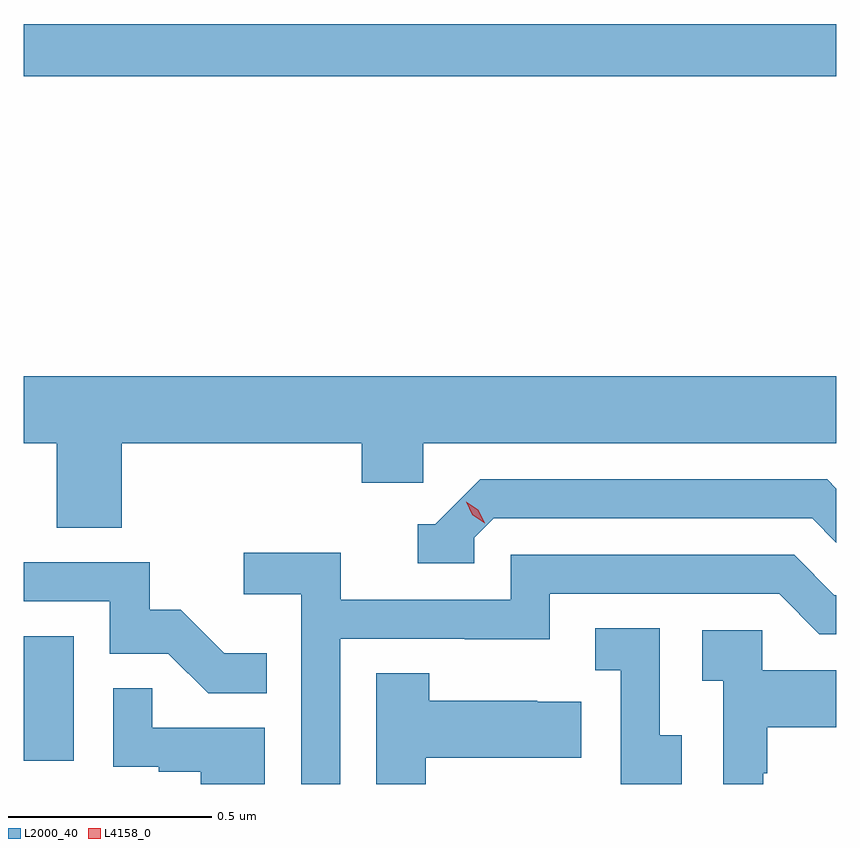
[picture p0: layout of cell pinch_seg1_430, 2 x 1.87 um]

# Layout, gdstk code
import gdstk
lib = gdstk.Library(unit=1e-6, precision=1e-09)
def R(c, l, rs):  # rectangles x0, y0, x1, y1
    for r in rs: c.add(gdstk.rectangle(r[:2], r[2:], *l))
def P(c, l, *ps):  # polygons
    for p in ps: c.add(gdstk.Polygon(p, *l))
L2000_40 = (2000, 40)
L4158_0 = (4158, 0)

pinch_seg1_430 = lib.new_cell('pinch_seg1_430')
R(pinch_seg1_430, L2000_40, [(947.467,524.31,947.59,524.617), (947.467,525.994,949.467,526.123)])
P(pinch_seg1_430, L2000_40, [(947.467,525.092),(947.548,525.092),(947.548,524.884),(947.708,524.884),(947.708,525.092),(948.299,525.092),(948.299,524.994),(948.45,524.994),(948.45,525.092),(949.467,525.092),(949.467,525.256),(947.467,525.256)],
  [(948.576,524.859),(948.624,524.907),(949.407,524.907),(949.467,524.847),(949.467,524.98),(949.444,525.003),(948.591,525.003),(948.48,524.892),(948.437,524.892),(948.437,524.796),(948.576,524.796)],
  [(948.246,524.61),(948.553,524.61),(948.553,524.609),(948.762,524.609),(948.762,524.721),(949.326,524.721),(949.425,524.622),(949.467,524.622),(949.467,524.718),(949.462,524.718),(949.363,524.817),(948.666,524.817),(948.666,524.706),(948.248,524.706),(948.248,524.822),(948.009,524.822),(948.009,524.72),(948.15,524.72),(948.15,524.253),(948.246,524.253)],
  [(948.065,524.575),(947.961,524.575),(947.854,524.682),(947.778,524.682),(947.778,524.799),(947.467,524.799),(947.467,524.703),(947.679,524.703),(947.679,524.574),(947.823,524.574),(947.921,524.476),(948.065,524.476)],
  [(949.087,524.373),(949.032,524.373),(949.032,524.636),(948.873,524.636),(948.873,524.533),(948.936,524.533),(948.936,524.253),(949.087,524.253)],
  [(949.287,524.279),(949.297,524.279),(949.297,524.393),(949.467,524.393),(949.467,524.533),(949.284,524.533),(949.284,524.631),(949.137,524.631),(949.137,524.507),(949.188,524.507),(949.188,524.253),(949.287,524.253)],
  [(948.457,524.318),(948.839,524.318),(948.839,524.455),(948.731,524.455),(948.731,524.458),(948.465,524.458),(948.465,524.525),(948.335,524.525),(948.335,524.253),(948.457,524.253)],
  [(948.061,524.391),(947.783,524.391),(947.783,524.489),(947.688,524.489),(947.688,524.295),(947.799,524.295),(947.799,524.283),(947.903,524.283),(947.903,524.253),(948.061,524.253)])
P(pinch_seg1_430, L4158_0, [(948.602,524.895),(948.571,524.915),(948.556,524.947),(948.556,524.948),(948.556,524.948),(948.586,524.928),(948.602,524.895),(948.602,524.895)])

lib.write_gds('pinch_seg1_430.gds')
